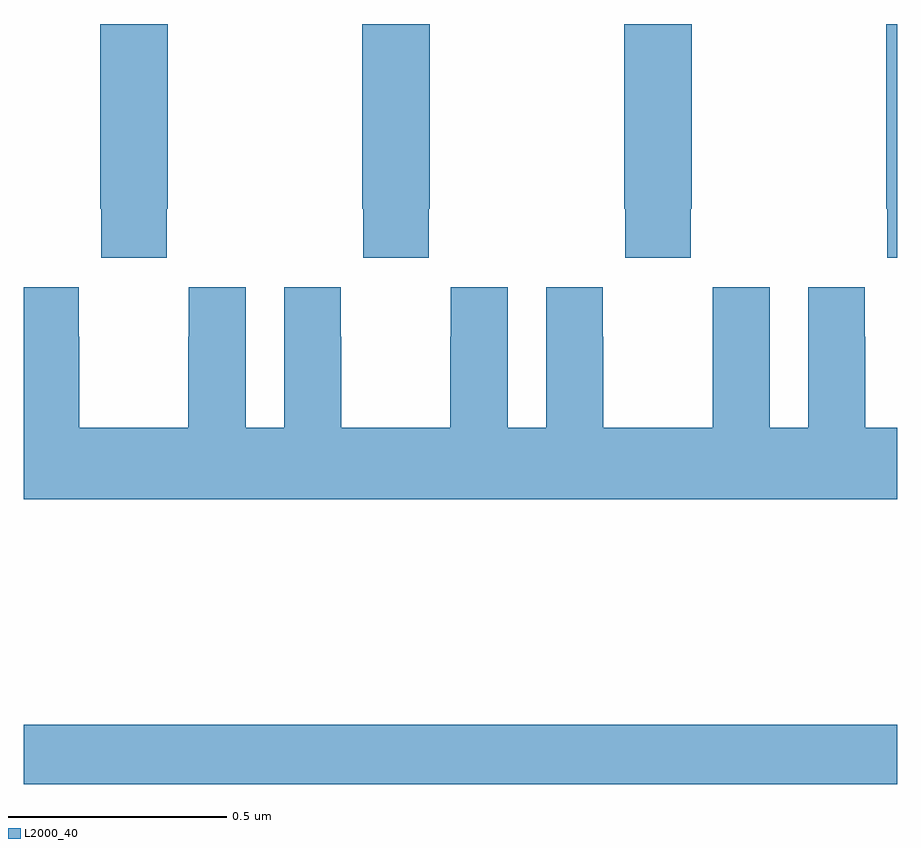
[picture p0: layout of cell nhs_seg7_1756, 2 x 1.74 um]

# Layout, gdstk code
import gdstk
lib = gdstk.Library(unit=1e-6, precision=1e-09)
def R(c, l, rs):  # rectangles x0, y0, x1, y1
    for r in rs: c.add(gdstk.rectangle(r[:2], r[2:], *l))
def P(c, l, *ps):  # polygons
    for p in ps: c.add(gdstk.Polygon(p, *l))
L2000_40 = (2000, 40)

nhs_seg7_1756 = lib.new_cell('nhs_seg7_1756')
R(nhs_seg7_1756, L2000_40, [(135,1037.26,137,1037.396)])
P(nhs_seg7_1756, L2000_40, [(135.175,1038.577),(135.177,1038.577),(135.177,1038.465),(135.327,1038.465),(135.327,1038.577),(135.33,1038.577),(135.33,1039),(135.175,1039)],
  [(135.927,1038.577),(135.93,1038.577),(135.93,1039),(135.775,1039),(135.775,1038.577),(135.777,1038.577),(135.777,1038.465),(135.927,1038.465)],
  [(136.527,1038.577),(136.53,1038.577),(136.53,1039),(136.375,1039),(136.375,1038.577),(136.377,1038.577),(136.377,1038.465),(136.527,1038.465)],
  [(137,1039),(136.975,1039),(136.975,1038.577),(136.977,1038.577),(136.977,1038.465),(137,1038.465)],
  [(137,1038.076),(136.927,1038.076),(136.927,1038.284),(136.926,1038.284),(136.926,1038.397),(136.796,1038.397),(136.796,1038.076),(136.708,1038.076),(136.708,1038.397),(136.578,1038.397),(136.578,1038.284),(136.577,1038.284),(136.577,1038.076),(136.327,1038.076),(136.327,1038.284),(136.326,1038.284),(136.326,1038.397),(136.196,1038.397),(136.196,1038.076),(136.108,1038.076),(136.108,1038.397),(135.978,1038.397),(135.978,1038.284),(135.977,1038.284),(135.977,1038.076),(135.727,1038.076),(135.727,1038.284),(135.726,1038.284),(135.726,1038.397),(135.596,1038.397),(135.596,1038.076),(135.508,1038.076),(135.508,1038.397),(135.378,1038.397),(135.378,1038.284),(135.377,1038.284),(135.377,1038.076),(135.127,1038.076),(135.127,1038.284),(135.126,1038.284),(135.126,1038.397),(135,1038.397),(135,1037.912),(137,1037.912)])

lib.write_gds('nhs_seg7_1756.gds')
